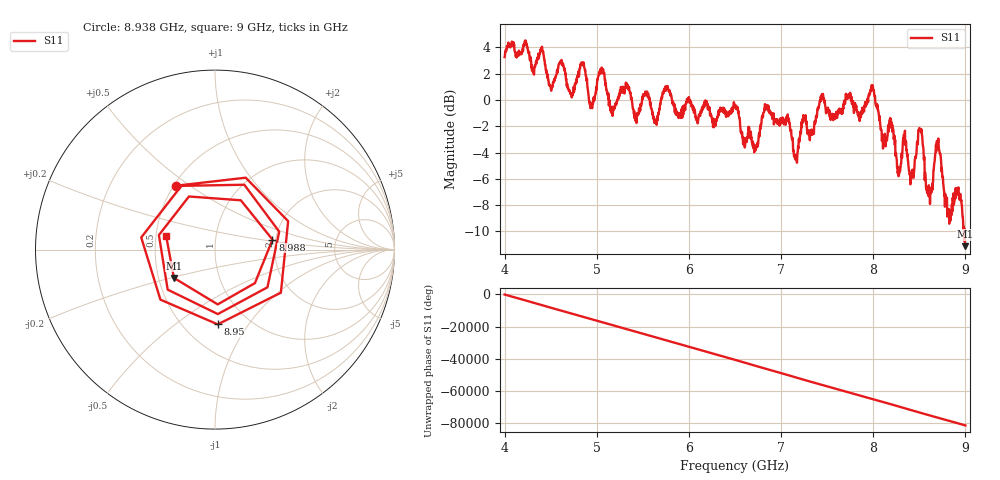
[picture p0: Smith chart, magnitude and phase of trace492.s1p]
! Created with skrf 1.8.0 (http://scikit-rf.org).
# Hz S RI R 50.0
!freq ReS11 ImS11
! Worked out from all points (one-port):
!   1601 points, 4 GHz to 9 GHz, reference 50 ohm
!   lowest |S11| = -11.1 dB at 8.997 GHz (marker M1), VSWR 1.77, Z = 30.1 - j10.3 ohm
!   |S11| at or under -10 dB: 8.983048 GHz to 8.98564 GHz (2.592 MHz wide, 0.0289 % of centre); 8.988738 GHz to end of sweep
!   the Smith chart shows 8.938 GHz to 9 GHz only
!   S11 on the Smith chart (normalised r, x): 8.938 GHz: 0.51, +0.44; 8.95 GHz: 0.72, -0.73; 8.988 GHz: 1.92, +0.24; 9 GHz: 0.57, +0.09
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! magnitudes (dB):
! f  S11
! 4 GHz  3.3
! 4.503 GHz  0.8
! 4.625 GHz  2.8
! 4.722 GHz  0.5
! 4.85 GHz  2.8
! 4.941 GHz  -0.5
! 5.047 GHz  2.1
! 5.156 GHz  -0.9
! 5.25 GHz  0.5
! 5.875 GHz  -1.2
! 6.5 GHz  -0.5
! 6.606 GHz  -3.6
! 6.844 GHz  -0.7
! 7.125 GHz  -2.9
! 7.75 GHz  0.5
! 7.994 GHz  1.1
! 8.112 GHz  -2.8
! 8.375 GHz  -4.6
! 8.422 GHz  -5.8
! 8.512 GHz  -2.2
! 8.597 GHz  -7.3
! 8.7 GHz  -3.2
! 8.825 GHz  -9.4
! 8.938 GHz  -7.6
! 8.95 GHz  -7.6
! 8.988 GHz  -9.8
! 8.997 GHz  -11.1
! 9 GHz  -11.0
